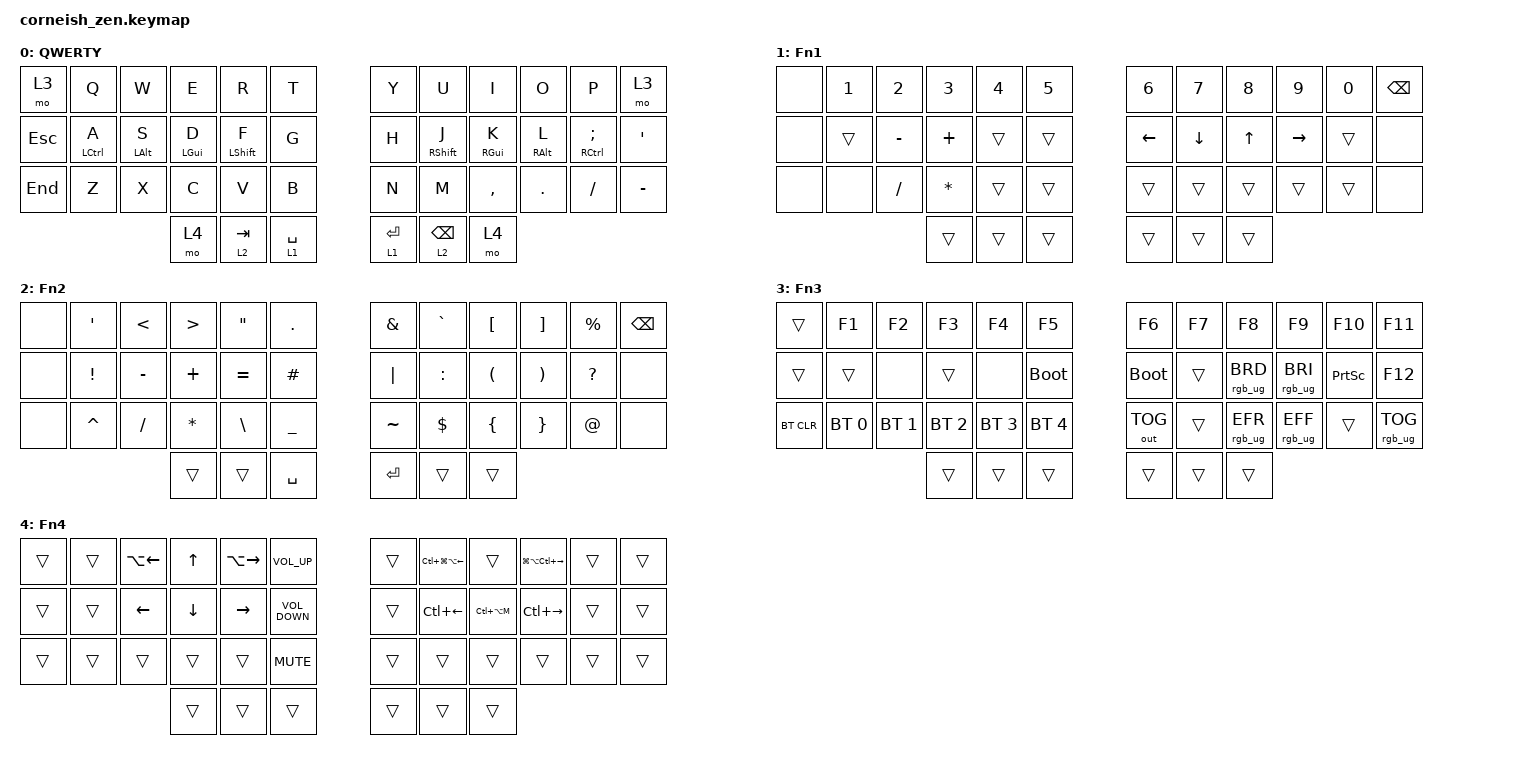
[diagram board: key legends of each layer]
/*
 * Copyright (c) 2020 The ZMK Contributors
 *
 * SPDX-License-Identifier: MIT
 */

#include <behaviors.dtsi>
#include <dt-bindings/zmk/bt.h>
#include <dt-bindings/zmk/keys.h>
#include <dt-bindings/zmk/outputs.h>
#include <dt-bindings/zmk/rgb.h>

#include "includes/keys.h"
#include "includes/mods.dtsi"

/ {
    chosen {
        zmk,matrix_transform = &default_transform;

        // zmk,matrix_transform = &five_column_transform;
    };
};

/ {
    behaviors {
    };

    keymap {
        compatible = "zmk,keymap";

        default_layer {
            display-name = "QWERTY";

            // --------------------------------------------------------------------------------
            // |  TAB |  Q  |  W  |  E  |  R  |  T  |   |  Y  |  U   |  I  |  O  |  P  | BKSP |
            // | CTRL |  A  |  S  |  D  |  F  |  G  |   |  H  |  J   |  K  |  L  |  ;  |  '   | 
            // | SHFT |  Z  |  X  |  C  |  V  |  B  |   |  N  |  M   |  ,  |  .  |  /  | ESC  |
            //                    | GUI | LWR | SPC |   | ENT | RSE  | ALT |

            bindings = <
&mo 3       &kp Q        &kp W           &kp E           &kp R             &kp T          &kp Y        &kp U              &kp I            &kp O            &kp P           &mo 3
&kp ESCAPE  &hml LCTRL A  &hml LEFT_ALT S  &hml LEFT_GUI D  &hml LEFT_SHIFT F  &kp G          &kp H        &hmr RIGHT_SHIFT J  &hmr RIGHT_GUI K  &hmr RIGHT_ALT L  &hmr RCTRL SEMI  &kp SQT
&kp END           &kp Z        &kp X           &kp C           &kp V             &kp B          &kp N        &kp M              &kp COMMA        &kp DOT          &kp FSLH        &kp MINUS
                                               &mo 4           &lt 2 TAB         &lt 1 SPACE    &lt 1 ENTER  &lt 2 BACKSPACE    &mo 4
            >;
        };

        lower_layer {
            display-name = "Fn1";

            // -----------------------------------------------------------------------------------------
            // |  TAB |  1  |  2  |  3  |  4  |  5  |   |  6  |  7  |  8  |  9  |  0  | BKSP |
            // | BTCLR| BT1 | BT2 | BT3 | BT4 | BT5 |   | LFT | DWN |  UP | RGT |     |      |
            // | SHFT |     |     |     |     |     |   |     |     |     |     |     |      |
            //                    | GUI |     | SPC |   | ENT |     | ALT |

            bindings = <
&none  &kp N1  &kp N2     &kp N3        &kp N4  &kp N5    &kp N6    &kp N7    &kp N8  &kp N9     &kp N0  &kp BSPC
&none  &trans  &kp MINUS  &kp PLUS      &trans  &trans    &kp LEFT  &kp DOWN  &kp UP  &kp RIGHT  &trans  &none
&none  &none   &kp SLASH  &kp ASTERISK  &trans  &trans    &trans    &trans    &trans  &trans     &trans  &none
                          &trans        &trans  &trans    &trans    &trans    &trans
            >;
        };

        raise_layer {
            display-name = "Fn2";

            // -----------------------------------------------------------------------------------------
            // |  TAB |  !  |  @  |  #  |  $  |  %  |   |  ^  |  &  |  *  |  (  |  )  | BKSP |
            // | CTRL |     |     |     |     |     |   |  -  |  =  |  [  |  ]  |  \  |  `   |
            // | SHFT |     |     |     |     |     |   |  _  |  +  |  {  |  }  | "|" |  ~   |
            //                    | GUI |     | SPC |   | ENT |     | ALT |

            bindings = <
&none  &kp SQT    &kp LT     &kp GT     &kp DQT        &kp PERIOD        &kp AMPS   &kp GRAVE  &kp LBKT  &kp RBKT  &kp PRCNT  &kp BSPC
&none  &kp EXCL   &kp MINUS  &kp PLUS   &kp EQUAL      &kp HASH          &kp PIPE   &kp COLON  &kp LPAR  &kp RPAR  &kp QMARK  &none
&none  &kp CARET  &kp SLASH  &kp ASTRK  &kp BACKSLASH  &kp UNDERSCORE    &kp TILDE  &kp DLLR   &kp LBRC  &kp RBRC  &kp AT     &none
                             &trans     &trans         &kp SPACE         &kp RET    &trans     &trans
            >;
        };

        layer_3 {
            display-name = "Fn3";
            bindings = <
&trans      &kp F1        &kp F2        &kp F3        &kp F4        &kp F5          &kp F6        &kp F7  &kp F8           &kp F9           &kp F10          &kp F11
&trans      &trans        &none         &trans        &none         &bootloader     &bootloader   &trans  &rgb_ug RGB_BRD  &rgb_ug RGB_BRI  &kp PRINTSCREEN  &kp F12
&bt BT_CLR  &bt BT_SEL 0  &bt BT_SEL 1  &bt BT_SEL 2  &bt BT_SEL 3  &bt BT_SEL 4    &out OUT_TOG  &trans  &rgb_ug RGB_EFR  &rgb_ug RGB_EFF  &trans           &rgb_ug RGB_TOG
                                        &trans        &trans        &trans          &trans        &trans  &trans
            >;
        };

        layer_4 {
            bindings = <
&trans  &trans  &kp LA(LEFT)  &kp UP    &kp LA(RIGHT)  &kp C_VOL_UP         &trans  &kp LC(LG(LA(LEFT_ARROW)))  &trans         &kp LG(LA(LC(RIGHT_ARROW)))  &trans  &trans
&trans  &trans  &kp LEFT      &kp DOWN  &kp RIGHT      &kp C_VOLUME_DOWN    &trans  &kp LC(LEFT_ARROW)          &kp LC(LA(M))  &kp LC(RIGHT_ARROW)          &trans  &trans
&trans  &trans  &trans        &trans    &trans         &kp K_MUTE           &trans  &trans                      &trans         &trans                       &trans  &trans
                              &trans    &trans         &trans               &trans  &trans                      &trans
            >;

            label = "Fn4";
        };
    };
};
